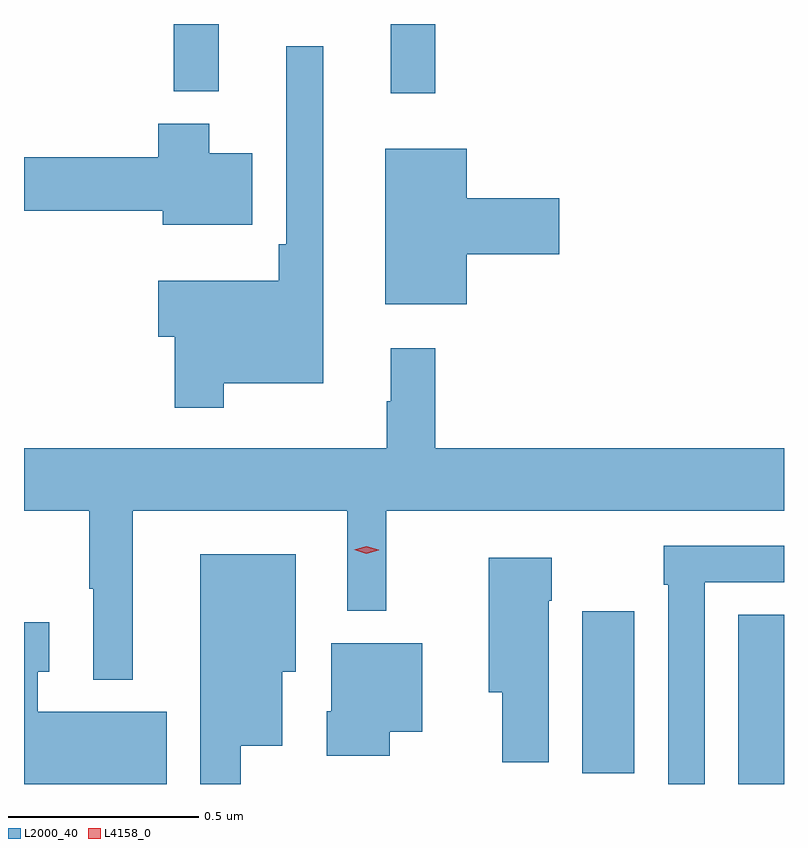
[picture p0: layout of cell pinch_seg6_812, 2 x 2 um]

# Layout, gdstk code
import gdstk
lib = gdstk.Library(unit=1e-6, precision=1e-09)
def R(c, l, rs):  # rectangles x0, y0, x1, y1
    for r in rs: c.add(gdstk.rectangle(r[:2], r[2:], *l))
def P(c, l, *ps):  # polygons
    for p in ps: c.add(gdstk.Polygon(p, *l))
L2000_40 = (2000, 40)
L4158_0 = (4158, 0)

pinch_seg6_812 = lib.new_cell('pinch_seg6_812')
R(pinch_seg6_812, L2000_40, [(332.483,961.269,332.603,961.715), (332.072,961.297,332.209,961.723), (331.568,963.087,331.685,963.269), (330.997,963.092,331.115,963.269)])
P(pinch_seg6_812, L2000_40, [(331.129,962.324),(331.39,962.324),(331.39,963.211),(331.293,963.211),(331.293,962.689),(331.273,962.689),(331.273,962.593),(330.956,962.593),(330.956,962.446),(331,962.446),(331,962.259),(331.129,962.259)],
  [(331.204,962.929),(331.09,962.929),(331.09,963.007),(330.956,963.007),(330.956,962.919),(330.603,962.919),(330.603,962.777),(330.968,962.777),(330.968,962.741),(331.204,962.741)],
  [(331.768,962.663),(332.011,962.663),(332.011,962.81),(331.768,962.81),(331.768,962.941),(331.553,962.941),(331.553,962.531),(331.768,962.531)],
  [(330.889,961.988),(331.454,961.988),(331.454,961.725),(331.556,961.725),(331.556,961.988),(332.603,961.988),(332.603,962.152),(331.685,962.152),(331.685,962.416),(331.568,962.416),(331.568,962.276),(331.557,962.276),(331.557,962.152),(330.603,962.152),(330.603,961.988),(330.775,961.988),(330.775,961.783),(330.785,961.783),(330.785,961.544),(330.889,961.544)],
  [(332.394,961.8),(332.603,961.8),(332.603,961.896),(332.286,961.896),(332.286,961.793),(332.298,961.793),(332.298,961.269),(332.394,961.269)],
  [(331.174,961.37),(331.282,961.37),(331.282,961.565),(331.318,961.565),(331.318,961.873),(331.067,961.873),(331.067,961.269),(331.174,961.269)],
  [(331.984,961.751),(331.992,961.751),(331.992,961.864),(331.826,961.864),(331.826,961.511),(331.862,961.511),(331.862,961.326),(331.984,961.326)],
  [(330.979,961.459),(330.639,961.459),(330.639,961.565),(330.67,961.565),(330.67,961.695),(330.603,961.695),(330.603,961.269),(330.979,961.269)],
  [(331.566,961.406),(331.651,961.406),(331.651,961.639),(331.412,961.639),(331.412,961.461),(331.4,961.461),(331.4,961.343),(331.566,961.343)])
P(pinch_seg6_812, L4158_0, [(331.504,961.875),(331.472,961.885),(331.471,961.885),(331.472,961.885),(331.504,961.895),(331.537,961.885),(331.537,961.884),(331.537,961.884)])

lib.write_gds('pinch_seg6_812.gds')
